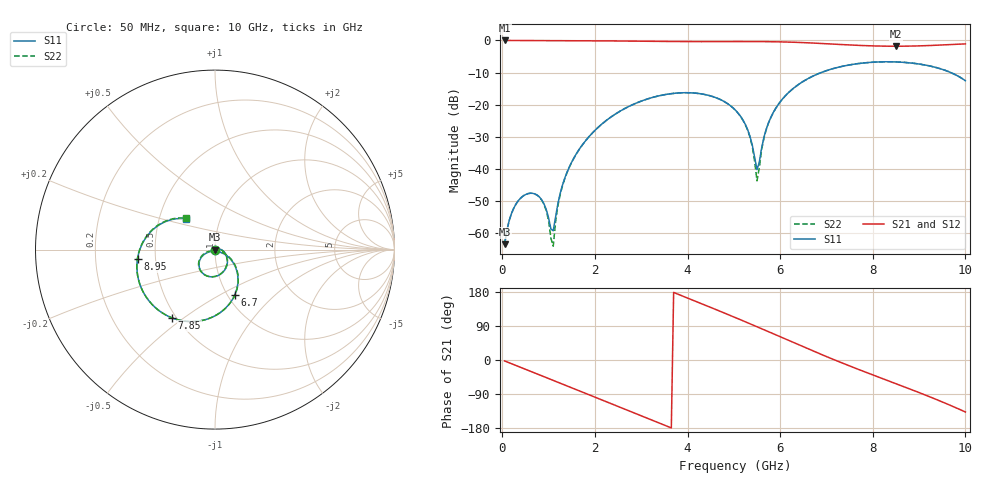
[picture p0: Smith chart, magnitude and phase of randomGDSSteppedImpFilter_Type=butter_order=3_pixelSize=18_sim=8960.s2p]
! freq	dB(S11)	phase(S11)	dB(S12)	phase(S12)
!  dB(S21)	phase(S21)	dB(S22)	phase(S22)
!S-par simulation data
#  GHz  S  DB  R 50
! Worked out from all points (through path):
!   200 points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, 50 MHz to 10 GHz, reference 50 ohm
!   highest |S21| = 0.00 dB at 50 MHz (marker M1); lowest = -1.8 dB at 8.5 GHz (marker M2)
!   group delay of S21, straight-line fit = 139 ps
!   lowest |S11| = -63.4 dB at 50 MHz (marker M3), VSWR 1.00, Z = 50 - j0.0518 ohm
!   |S11| at or under -10 dB: start of sweep to 6.885 GHz; 9.685 GHz to end of sweep
!   |S22| runs from -64.0 to -6.6 dB; largest |S21 - S12| = 0
!   S11 on the Smith chart (normalised r, x): 50 MHz: 1.00, -0.00; 6.7 GHz: 1.08, -0.59; 7.85 GHz: 0.47, -0.45; 8.95 GHz: 0.40, -0.05; 10 GHz: 0.68, +0.25
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0.05  -63.43 -50.1  -0.00 -2.5  -0.00 -2.5  -63.42 -50.0
0.25  -52.13 -93.6  -0.02 -12.3  -0.02 -12.3  -52.11 -92.9
0.65  -47.56 -124.6  -0.04 -31.8  -0.04 -31.8  -47.56 -122.1
0.9  -50.84 -148.1  -0.05 -44.0  -0.05 -44.0  -51.01 -141.2
1.1  -59.23 110.4  -0.06 -53.8  -0.06 -53.8  -64.03 100.1
1.2  -50.82 55.9  -0.06 -58.7  -0.06 -58.7  -51.46 44.3
1.3  -45.00 40.4  -0.07 -63.6  -0.07 -63.6  -45.22 33.4
1.75  -32.09 9.1  -0.10 -85.7  -0.10 -85.7  -32.12 6.3
2.5  -22.38 -30.4  -0.17 -122.6  -0.17 -122.6  -22.39 -32.0
3.4  -17.18 -75.1  -0.29 -166.9  -0.29 -166.9  -17.19 -76.5
4.2  -16.44 -113.8  -0.37 153.7  -0.37 153.7  -16.44 -115.3
5.05  -21.94 -152.5  -0.36 111.0  -0.36 111.0  -21.97 -155.2
5.35  -29.93 -157.2  -0.35 95.6  -0.35 95.6  -30.16 -163.6
5.5  -40.19 -101.8  -0.36 87.8  -0.36 87.8  -43.69 -107.1
5.65  -30.12 -27.6  -0.37 79.9  -0.37 79.9  -30.37 -21.7
5.85  -22.46 -27.6  -0.40 69.3  -0.40 69.3  -22.51 -25.4
6.7  -11.15 -66.8  -0.80 24.4  -0.80 24.4  -11.15 -66.6
7.85  -6.94 -122.3  -1.63 -32.3  -1.63 -32.3  -6.94 -122.5
8.35  -6.64 -145.3  -1.79 -55.6  -1.79 -55.6  -6.64 -145.6
8.5  -6.69 -152.2  -1.80 -62.5  -1.80 -62.5  -6.69 -152.5
8.95  -7.23 -173.1  -1.71 -83.6  -1.71 -83.6  -7.23 -173.5
10  -12.53 133.5  -1.07 -137.1  -1.07 -137.1  -12.53 132.4
